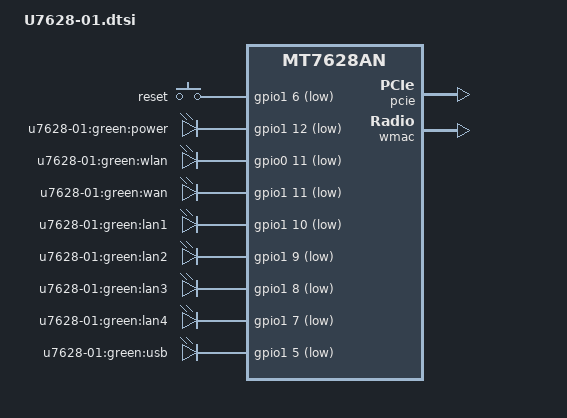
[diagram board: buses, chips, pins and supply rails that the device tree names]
/*
 *  BSD LICENSE
 *
 *  Copyright(c) 2017 Kristian Evensen <kristian.evensen@gmail.com>.
 *  Copyright(c) 2017 Piotr Dymacz <pepe2k@gmail.com>.
 *  All rights reserved.
 *
 *  Redistribution and use in source and binary forms, with or without
 *  modification, are permitted provided that the following conditions
 *  are met:
 *
 *    * Redistributions of source code must retain the above copyright
 *      notice, this list of conditions and the following disclaimer.
 *    * Redistributions in binary form must reproduce the above copyright
 *      notice, this list of conditions and the following disclaimer in
 *      the documentation and/or other materials provided with the
 *      distribution.
 *    * Neither the name of Broadcom Corporation nor the names of its
 *      contributors may be used to endorse or promote products derived
 *      from this software without specific prior written permission.
 *
 *  THIS SOFTWARE IS PROVIDED BY THE COPYRIGHT HOLDERS AND CONTRIBUTORS
 *  "AS IS" AND ANY EXPRESS OR IMPLIED WARRANTIES, INCLUDING, BUT NOT
 *  LIMITED TO, THE IMPLIED WARRANTIES OF MERCHANTABILITY AND FITNESS FOR
 *  A PARTICULAR PURPOSE ARE DISCLAIMED. IN NO EVENT SHALL THE COPYRIGHT
 *  OWNER OR CONTRIBUTORS BE LIABLE FOR ANY DIRECT, INDIRECT, INCIDENTAL,
 *  SPECIAL, EXEMPLARY, OR CONSEQUENTIAL DAMAGES (INCLUDING, BUT NOT
 *  LIMITED TO, PROCUREMENT OF SUBSTITUTE GOODS OR SERVICES; LOSS OF USE,
 *  DATA, OR PROFITS; OR BUSINESS INTERRUPTION) HOWEVER CAUSED AND ON ANY
 *  THEORY OF LIABILITY, WHETHER IN CONTRACT, STRICT LIABILITY, OR TORT
 *  (INCLUDING NEGLIGENCE OR OTHERWISE) ARISING IN ANY WAY OUT OF THE USE
 *  OF THIS SOFTWARE, EVEN IF ADVISED OF THE POSSIBILITY OF SUCH DAMAGE.
 */

#include "mt7628an.dtsi"

#include <dt-bindings/gpio/gpio.h>
#include <dt-bindings/input/input.h>

/ {
	compatible = "unielec,u7628-01", "mediatek,mt7628an-soc";

	aliases {
		led-status = &led_power;
	};

	chosen {
		bootargs = "console=ttyS0,115200";
	};

	gpio-keys-polled {
		compatible = "gpio-keys-polled";
		poll-interval = <20>;
		reset {
			label = "reset";
			gpios = <&gpio1 6 GPIO_ACTIVE_LOW>;
			linux,code = <KEY_RESTART>;
		};
	};

	gpio-leds {
		compatible = "gpio-leds";

		led_power: power {
			label = "u7628-01:green:power";
			gpios = <&gpio1 12 GPIO_ACTIVE_LOW>;
		};

		wlan {
			label = "u7628-01:green:wlan";
			gpios = <&gpio0 11 GPIO_ACTIVE_LOW>;
		};

		wan {
			label = "u7628-01:green:wan";
			gpios = <&gpio1 11 GPIO_ACTIVE_LOW>;
		};

		lan1 {
			label = "u7628-01:green:lan1";
			gpios = <&gpio1 10 GPIO_ACTIVE_LOW>;
		};

		lan2 {
			label = "u7628-01:green:lan2";
			gpios = <&gpio1 9 GPIO_ACTIVE_LOW>;
		};

		lan3 {
			label = "u7628-01:green:lan3";
			gpios = <&gpio1 8 GPIO_ACTIVE_LOW>;
		};

		lan4 {
			label = "u7628-01:green:lan4";
			gpios = <&gpio1 7 GPIO_ACTIVE_LOW>;
		};

		usb {
			label = "u7628-01:green:usb";
			gpios = <&gpio1 5 GPIO_ACTIVE_LOW>;
		};
	};
};

&gpio0 {
	status = "okay";
};

&gpio1 {
	status = "okay";
};

&pcie {
	status = "okay";
};

&ethernet {
	mtd-mac-address = <&factory 0x28>;
};

&wmac {
	status = "okay";
	ralink,mtd-eeprom = <&factory 0x0>;
};

&pinctrl {
	state_default: pinctrl0 {
		gpio {
			ralink,group = "gpio", "p0led_an", "p1led_an", "p2led_an", "p3led_an", "p4led_an", "refclk", "wdt", "wled_an";
			ralink,function = "gpio";
		};
	};
};
